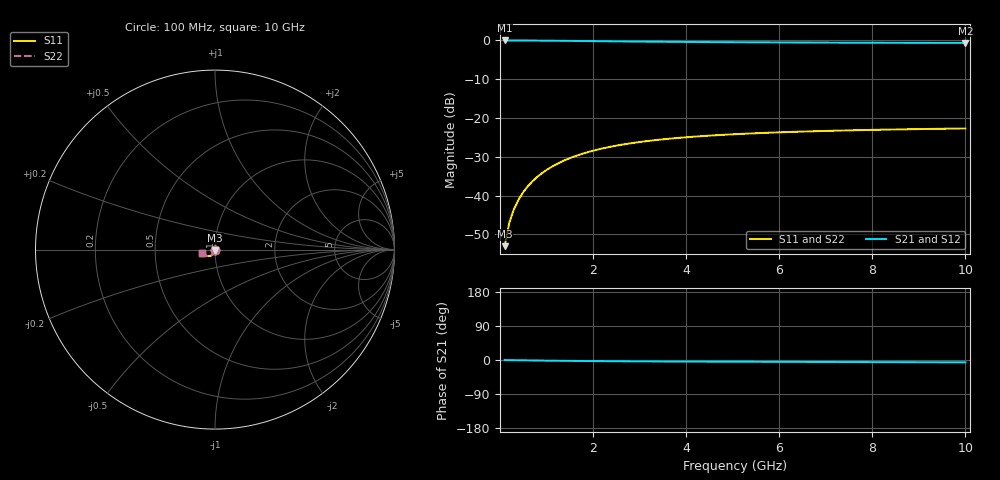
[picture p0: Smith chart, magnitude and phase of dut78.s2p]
! Touchstone file exported from HFSS 2024.1.0
!  File:  C:/UserFiles/LocalFiles/RDL_TSV_Batchsim/temp_TSV1_78_1778750910.aedt
!  Generated:  05:32:49 PM May 14, 2026
!  Design:  TSV1
!  Project:  temp_TSV1_78_1778750910
!  Setup:  Setup1
!  Solution:  Sweep
! Variables:
!  dtsv = 14.58um
!  hbump = 3um
!  htsv = 96.23um
!  lrdl = 252.1521522um
!  p = 40
!  p1 = 52.41um
!  t = 500um
!  trdl = 3um
!  wrdl = 24.89489489um
# GHz S MA R 50.000000
! Terminal data exported
! Port[1] = TSV22_T1
! Port[2] = TSV22_T2
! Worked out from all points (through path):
!   100 points, 100 MHz to 10 GHz, reference 50 ohm
!   highest |S21| = 0.00 dB at 100 MHz (marker M1); lowest = -0.6 dB at 10 GHz (marker M2)
!   lowest |S11| = -53.0 dB at 100 MHz (marker M3), VSWR 1.00, Z = 50 - j0.223 ohm
!   |S11| at or under -10 dB: start of sweep to end of sweep
!   |S22| runs from -53.0 to -22.7 dB; largest |S21 - S12| = 6.6e-15
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0.1  0.002228 -89.5  0.9998 -0.2  0.9998 -0.2  0.002228 -89.5
! Gamma 0 0 0 0
! Port Impedance 50 0 50 0
0.2  0.004455 -92.3  0.9996 -0.4  0.9996 -0.4  0.004455 -92.3
0.3  0.006677 -94.4  0.9992 -0.5  0.9992 -0.5  0.006677 -94.4
0.4  0.008885 -96.4  0.9987 -0.7  0.9987 -0.7  0.008885 -96.4
0.5  0.01107 -98.3  0.9981 -0.9  0.9981 -0.9  0.01107 -98.3
0.6  0.01322 -100.2  0.9974 -1.0  0.9974 -1.0  0.01322 -100.2
0.7  0.01533 -102.0  0.9965 -1.2  0.9965 -1.2  0.01533 -102.0
0.8  0.0174 -103.8  0.9956 -1.4  0.9956 -1.4  0.0174 -103.8
0.9  0.01942 -105.5  0.9946 -1.5  0.9946 -1.5  0.01942 -105.5
1.1  0.0233 -108.9  0.9923 -1.8  0.9923 -1.8  0.0233 -108.9
1.4  0.02869 -113.6  0.9885 -2.2  0.9885 -2.2  0.02869 -113.6
1.6  0.03199 -116.5  0.9858 -2.4  0.9858 -2.4  0.03199 -116.5
1.8  0.03505 -119.3  0.983 -2.7  0.983 -2.7  0.03505 -119.3
2.1  0.03922 -123.2  0.9789 -2.9  0.9789 -2.9  0.03922 -123.2
2.5  0.04403 -127.8  0.9735 -3.3  0.9735 -3.3  0.04403 -127.8
2.9  0.04811 -131.8  0.9685 -3.5  0.9685 -3.5  0.04811 -131.8
3.4  0.05235 -136.3  0.9628 -3.8  0.9628 -3.8  0.05235 -136.3
4.2  0.05765 -142.1  0.9552 -4.2  0.9552 -4.2  0.05765 -142.1
5.1  0.06206 -147.4  0.9485 -4.5  0.9485 -4.5  0.06206 -147.4
6.7  0.0674 -154.6  0.9398 -5.1  0.9398 -5.1  0.0674 -154.6
8.4  0.07101 -160.2  0.9337 -5.7  0.9337 -5.7  0.07101 -160.2
10  0.0733 -164.4  0.9297 -6.2  0.9297 -6.2  0.0733 -164.4
